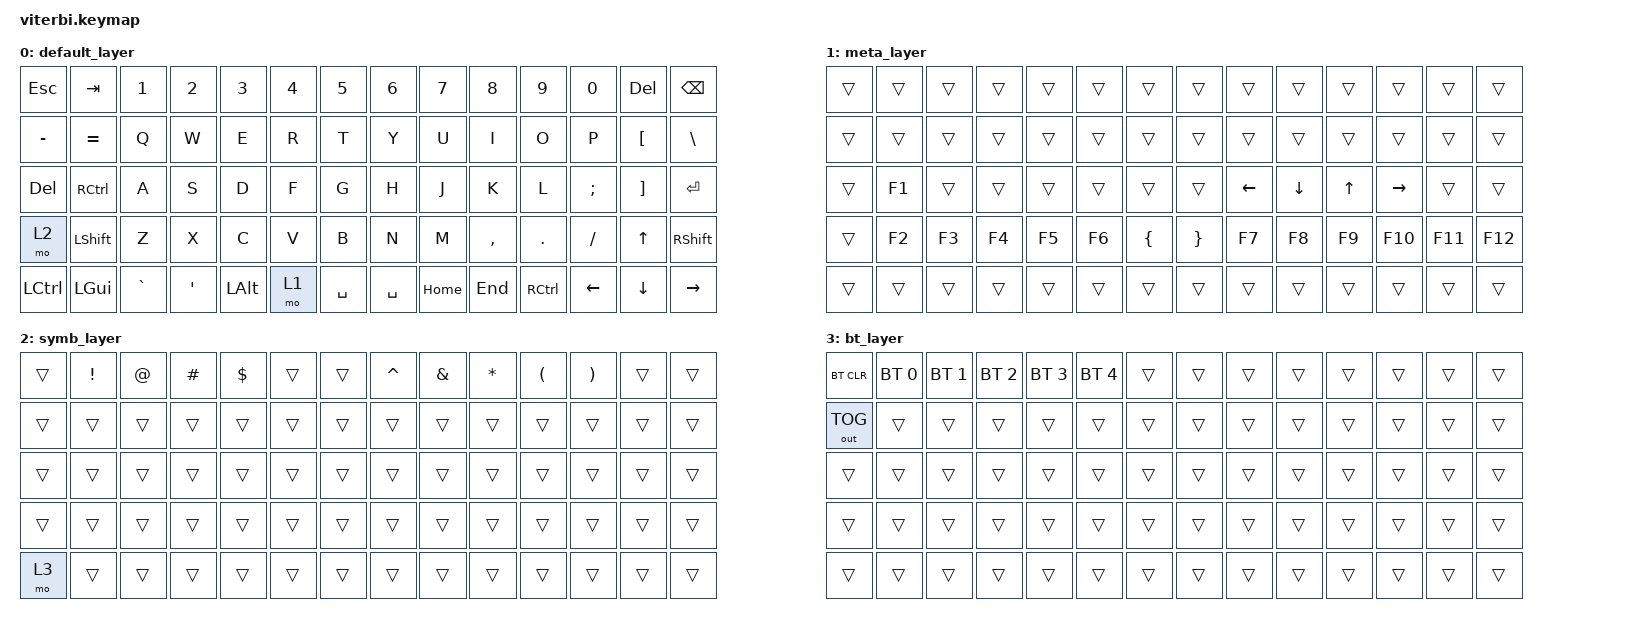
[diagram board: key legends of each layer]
#include <behaviors.dtsi>
#include <dt-bindings/zmk/bt.h>
#include <dt-bindings/zmk/keys.h>
#include <dt-bindings/zmk/outputs.h>

/ {
    keymap {
        compatible = "zmk,keymap";

  // DEFAULT
  // ,------------------------------------------------.   ,------------------------------------------------.
  // | ESC  | Tab  |   1  |   2  |   3  |   4  |  5   |   |  6   |   7  |   8  |   9  |   0  | Del  | Bksp |
  // |------+------+------+------+------+------+------|   |-------------+------+------+------+------+------|
  // |  -   |  =   |   Q  |   W  |   E  |   R  |  T   |   |  Y   |   U  |   I  |   O  |   P  |   [  |  \   |
  // |------+------+------+------+------+------+------|   |-------------+------+------+------+------+------|
  // | Del  | RCtrl|   A  |   S  |   D  |   F  |  G   |   |  H   |   J  |   K  |   L  |   ;  |   ]  | Enter|
  // |------+------+------+------+------+------+------|   |------|------+------+------+------+------+------|
  // | SYMB | LSft |   Z  |   X  |   C  |   V  |  B   |   |  N   |   M  |   ,  |   .  |   /  |  UP  | RSft |
  // |------+------+------+------+------+------+------|   |------+------+------+------+------+------+------|
  // | LCtrl| LGui |   `  |  '   | LAlt | META |Space |   |Space | HOME | END  | RCtrl| LEFT | DOWN | RIGHT|
  // `------------------------------------------------'   `------------------------------------------------'
  //
        default_layer {
            bindings = <
&kp ESC   &kp TAB    &kp N1    &kp N2    &kp N3    &kp N4    &kp N5    /**/ &kp N6    &kp N7    &kp N8    &kp N9    &kp N0    &kp DEL   &kp BACKSPACE
&kp MINUS &kp EQUAL  &kp Q     &kp W     &kp E     &kp R     &kp T     /**/ &kp Y     &kp U     &kp I     &kp O     &kp P     &kp LBKT  &kp BSLH  
&kp DEL   &kp RCTRL  &kp A     &kp S     &kp D     &kp F     &kp G     /**/ &kp H     &kp J     &kp K     &kp L     &kp SEMI  &kp RBKT  &kp ENTER
&mo 2     &kp LSHFT  &kp Z     &kp X     &kp C     &kp V     &kp B     /**/ &kp N     &kp M     &kp COMMA &kp DOT   &kp FSLH  &kp UP    &kp RSHFT 
&kp LCTRL &kp LGUI   &kp GRAVE &kp SQT   &kp LALT  &mo 1     &kp SPACE /**/ &kp SPACE &kp HOME  &kp END   &kp RCTRL &kp LEFT  &kp DOWN  &kp RIGHT  
            >;
        };

  // META
  // ,------------------------------------------------.   ,------------------------------------------------.
  // |      |      |      |      |      |      |      |   |      |      |      |      |      |      |      |
  // |------+------+------+------+------+------+------|   |------+------+------+------+------+------+------|
  // |      |      |      |      |      |      |      |   |      |      |      |      |      |      |      |
  // |------+------+------+------+------+------+------|   |-------------+------+------+------+------+------|
  // |      |  F1  |      |      |      |      |      |   | Left | Down |  Up  |Right |      |      |      |
  // |------+------+------+------+------+------+------|   |------|------+------+------+------+------+------|
  // |      |  F2  |  F3  |  F4  |  F5  |  F6  |  {   |   |  }   |  F7  |  F8  |  F9  | F10  | F11  | F12  |
  // |------+------+------+------+------+------+------|   |------+------+------+------+------+------+------|
  // |      |      |      |      |      |      |      |   |      |      |      |      |      |      |      |
  // `------------------------------------------------'   `------------------------------------------------'
  //
        meta_layer {
            bindings = <
&trans  &trans  &trans  &trans  &trans   &trans  &trans   /**/ &trans   &trans   &trans   &trans  &trans    &trans    &trans
&trans  &trans  &trans  &trans  &trans   &trans  &trans   /**/ &trans   &trans   &trans   &trans  &trans    &trans    &trans
&trans  &kp F1  &trans  &trans  &trans   &trans  &trans   /**/ &trans   &kp LEFT &kp DOWN &kp UP  &kp RIGHT &trans    &trans
&trans  &kp F2  &kp F3  &kp F4  &kp F5   &kp F6  &kp LBRC /**/ &kp RBRC &kp F7   &kp F8   &kp F9  &kp F10   &kp F11   &kp F12
&trans  &trans  &trans  &trans  &trans   &trans  &trans   /**/ &trans   &trans   &trans   &trans  &trans    &trans    &trans
            >;
        };

  // SYMB
  // ,------------------------------------------------.   ,------------------------------------------------.
  // |      |   !  |   @  |   #  |   $  |   %  |      |   |      |   ^  |   &  |   *  |   (  |   )  |      |
  // |------+------+------+------+------+------+------|   |-------------+------+------+------+------+------|
  // |      |      |      |      |      |      |      |   |      |      |      |      |      |      |      |
  // |------+------+------+------+------+------+------|   |------|------+------+------+------+------+------|
  // |      |      |      |      |      |      |      |   |      |      |      |      |      |      |      |
  // |------+------+------+------+------+------+------|   |------|------+------+------+------+------+------|
  // |      |      |      |      |      |      |      |   |      |      |      |      |      |      |      |
  // |------+------+------+------+------+------+------|   |------+------+------+------+------+------+------|
  // |  BT  |      |      |      |      |      |      |   |      |      |      |      |      |      |      |
  // `------------------------------------------------'   `------------------------------------------------'
  //
        symb_layer {
            bindings = <
&trans  &kp EXCL &kp AT    &kp HASH &kp DOLLAR &trans      &trans /**/ &kp CARET &kp AMPS &kp ASTRK &kp LPAR &kp RPAR &trans   &trans
&trans  &trans   &trans    &trans   &trans     &trans      &trans /**/ &trans    &trans   &trans    &trans   &trans   &trans   &trans
&trans  &trans   &trans    &trans   &trans     &trans      &trans /**/ &trans    &trans   &trans    &trans   &trans   &trans   &trans
&trans  &trans   &trans    &trans   &trans     &trans      &trans /**/ &trans    &trans   &trans    &trans   &trans   &trans   &trans
&mo 3   &trans   &trans    &trans   &trans     &trans      &trans /**/ &trans    &trans   &trans    &trans   &trans   &trans   &trans
            >;
        };

  // BT 
  // ,------------------------------------------------.   ,------------------------------------------------.
  // |BT_CLR| BT0  | BT1  | BT2  | BT3  | BT4  |      |   |      |      |      |      |      |      |      |
  // |------+------+------+------+------+------+------|   |-------------+------+------+------+------+------|
  // |TOGGLE|      |      |      |      |      |      |   |      |      |      |      |      |      |      |
  // |------+------+------+------+------+------+------|   |------|------+------+------+------+------+------|
  // |      |      |      |      |      |      |      |   |      |      |      |      |      |      |      |
  // |------+------+------+------+------+------+------|   |------+------+------+------+------+------+------|
  // |      |      |      |      |      |      |      |   |      |      |      |      |      |      |      |
  // |------+------+------+------+------+------+------|   |------+------+------+------+------+------+------|
  // |      |      |      |      |      |      |      |   |      |      |      |      |      |      |      |
  // `------------------------------------------------'   `------------------------------------------------'
  //
        bt_layer {
            bindings = <
&bt BT_CLR   &bt BT_SEL 0 &bt BT_SEL 1 &bt BT_SEL 2 &bt BT_SEL 3 &bt BT_SEL 4 &trans /**/ &trans  &trans  &trans  &trans &trans   &trans   &trans
&out OUT_TOG &trans       &trans       &trans       &trans       &trans       &trans /**/ &trans  &trans  &trans  &trans &trans   &trans   &trans
&trans       &trans       &trans       &trans       &trans       &trans       &trans /**/ &trans  &trans  &trans  &trans &trans   &trans   &trans
&trans       &trans       &trans       &trans       &trans       &trans       &trans /**/ &trans  &trans  &trans  &trans &trans   &trans   &trans
&trans       &trans       &trans       &trans       &trans       &trans       &trans /**/ &trans  &trans  &trans  &trans &trans   &trans   &trans
            >;
        };

    };
};
